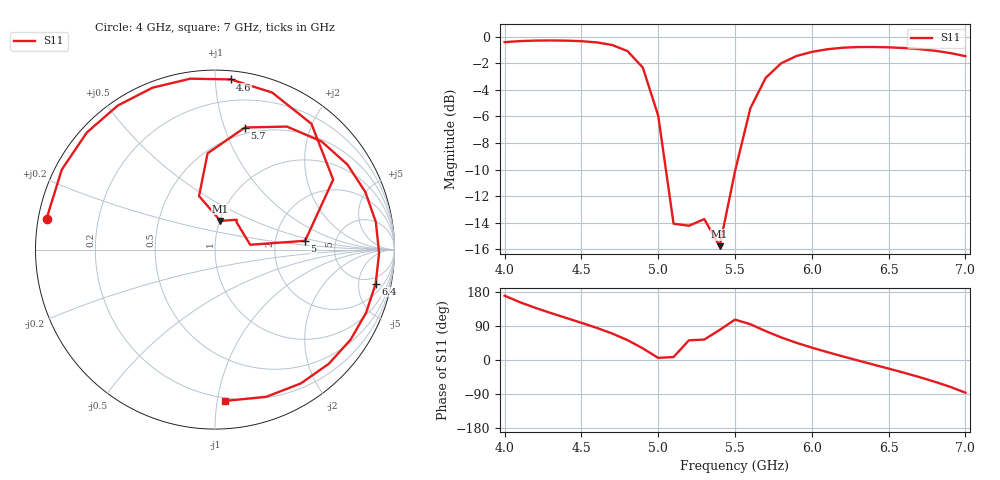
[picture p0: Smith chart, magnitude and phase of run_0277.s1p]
! Touchstone file exported from HFSS 2024.2.0
!  File:  C:/Users/wsak9/Desktop/Sim Fast/Widenad Patch/WP_AI_V1_sweep.aedt
!  Generated:  02:39:35 AM Oct 14, 2026
!  Design:  A1_model
!  Project:  WP_AI_V1_sweep
!  Setup:  Setup1
!  Solution:  Sweep
! Variables:
!  Air_gap = 3.36mm
!  Curve_Amp1 = 3.81
!  Curve_len1 = 1
!  Curve_pos = 10.68mm
!  Extra = 4.34mm
!  H_sub = 0.79mm
!  L_Patch = 17.36mm
!  L_Patch1 = 13.71mm
!  Sx = 1.6mm
!  Sy = 2.11mm
!  WS = 0.24mm
!  W_Patch = 14.97mm
!  W_Patch1 = 9.37mm
!Data is not renormalized
# GHz S MA
! Terminal data exported
! Port[1] = 1
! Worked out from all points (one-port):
!   31 points, 4 GHz to 7 GHz, reference per port
!   lowest |S11| = -15.8 dB at 5.4 GHz (marker M1), VSWR 1.39
!   |S11| at or under -10 dB: 5.05 GHz to 5.503 GHz (452.9 MHz wide, 8.58 % of centre)
!   S11 on the Smith chart (normalised r, x): 4 GHz: 0.02, +0.09; 4.6 GHz: 0.05, +1.09; 5 GHz: 2.98, +0.39; 5.7 GHz: 0.44, +1.18; 6.4 GHz: 3.48, -8.10; 7 GHz: 0.18, -1.05
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4  0.9542 169.6
4.1  0.963 152.4
4.2  0.9672 137.6
4.3  0.9683 124.0
4.4  0.9669 111.1
4.5  0.9622 98.2
4.6  0.9522 84.7
4.7  0.9311 70.0
4.8  0.8831 52.5
4.9  0.7653 30.6
5  0.5044 5.6
5.1  0.1978 7.8
5.2  0.1944 52.0
5.3  0.2058 53.9
5.4  0.1628 79.3
5.5  0.3114 106.6
5.6  0.538 94.4
5.7  0.7004 76.2
5.8  0.794 59.7
5.9  0.8461 45.4
6  0.8769 32.7
6.1  0.897 21.0
6.3  0.9145 -1.2
6.4  0.9151 -11.9
6.6  0.9069 -33.6
6.7  0.8982 -45.1
6.9  0.8685 -70.8
7  0.845 -86.3
